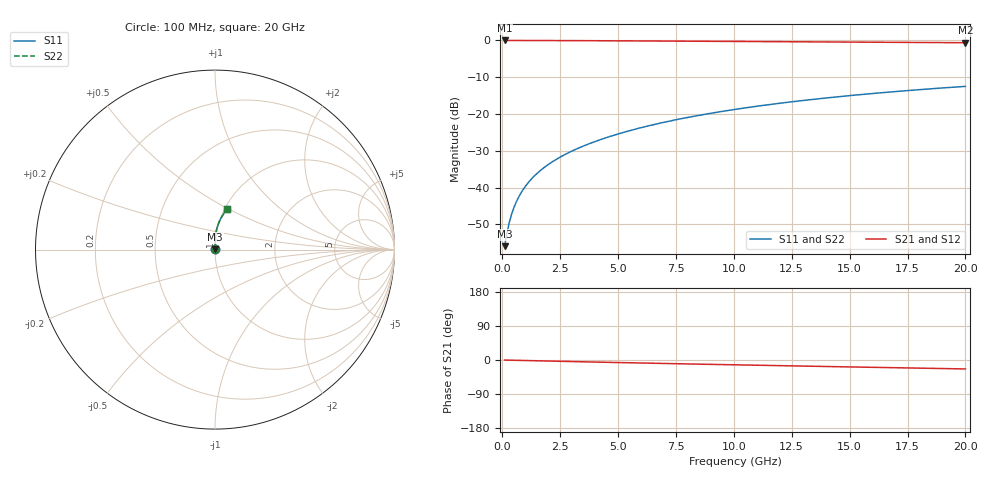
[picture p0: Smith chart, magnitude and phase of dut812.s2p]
! Touchstone file exported from HFSS 2024.1.0
!  File:  C:/UserFiles/LocalFiles/RDL_TSV_Batchsim/temp_RDL_bottom_812_1779862398.aedt
!  Generated:  02:15:45 PM May 27, 2026
!  Design:  RDL_bottom
!  Project:  temp_RDL_bottom_812_1779862398
!  Setup:  Setup1
!  Solution:  Sweep
! Variables:
!  dtsv = 10.80580581um
!  hbump = 3um
!  htsv = 76.67um
!  ldown = 312.71um
!  lrdl = 100um
!  p = 40
!  p1 = 53.39um
!  rhole = 1um
!  t = 450um
!  tdown = 4.8um
!  trdl = 3.915915916um
!  wdown = 23.81um
!  wrdl = 20um
# GHz S MA R 50.000000
! Terminal data exported
! Port[1] = RDL1_T1
! Port[2] = RDL1_T2
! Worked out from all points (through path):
!   200 points, 100 MHz to 20 GHz, reference 50 ohm
!   highest |S21| = -0.01 dB at 100 MHz (marker M1); lowest = -0.6 dB at 20 GHz (marker M2)
!   group delay of S21, straight-line fit = 3.24 ps
!   lowest |S11| = -56.0 dB at 100 MHz (marker M3), VSWR 1.00, Z = 50.1 + j0.112 ohm
!   |S11| at or under -10 dB: start of sweep to end of sweep
!   |S22| runs from -56.0 to -12.5 dB; largest |S21 - S12| = 5e-15
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0.1  0.001594 44.4  0.9989 -0.1  0.9989 -0.1  0.001594 44.4
! Gamma 0 0 0 0
! Port Impedance 50 0 50 0
0.2  0.0024 61.5  0.9988 -0.3  0.9988 -0.3  0.0024 61.5
0.3  0.003335 69.9  0.9987 -0.4  0.9987 -0.4  0.003335 69.9
0.4  0.004315 74.5  0.9986 -0.6  0.9986 -0.6  0.004315 74.6
0.5  0.005315 77.5  0.9985 -0.7  0.9985 -0.7  0.005315 77.5
0.6  0.006325 79.5  0.9984 -0.8  0.9984 -0.8  0.006325 79.5
0.8  0.008361 82.0  0.9982 -1.1  0.9982 -1.1  0.008361 82.0
1.1  0.01143 84.1  0.9979 -1.5  0.9979 -1.5  0.01143 84.1
1.5  0.01554 85.7  0.9973 -2.1  0.9973 -2.1  0.01554 85.7
1.8  0.01863 86.4  0.9968 -2.5  0.9968 -2.5  0.01863 86.4
2.1  0.02173 87.0  0.9962 -2.9  0.9962 -2.9  0.02174 87.0
2.7  0.02802 87.8  0.9948 -3.7  0.9948 -3.7  0.02802 87.8
3.5  0.03661 88.5  0.9926 -4.8  0.9926 -4.8  0.03661 88.5
4.2  0.04434 88.8  0.9904 -5.7  0.9904 -5.7  0.04434 88.8
5  0.05344 88.9  0.9876 -6.7  0.9876 -6.7  0.05345 88.9
6.8  0.07483 88.2  0.9809 -9.0  0.9809 -9.0  0.07484 88.2
8.4  0.09461 87.0  0.9747 -10.9  0.9747 -10.9  0.09461 87.0
10.1  0.116 85.2  0.9682 -12.8  0.9682 -12.8  0.116 85.2
11.7  0.1363 83.4  0.9622 -14.6  0.9622 -14.6  0.1363 83.4
13.4  0.1577 81.3  0.9558 -16.5  0.9558 -16.5  0.1577 81.3
16.7  0.1983 77.2  0.9433 -20.1  0.9433 -20.1  0.1984 77.2
20  0.2373 73.1  0.9306 -23.6  0.9306 -23.6  0.2373 73.1
